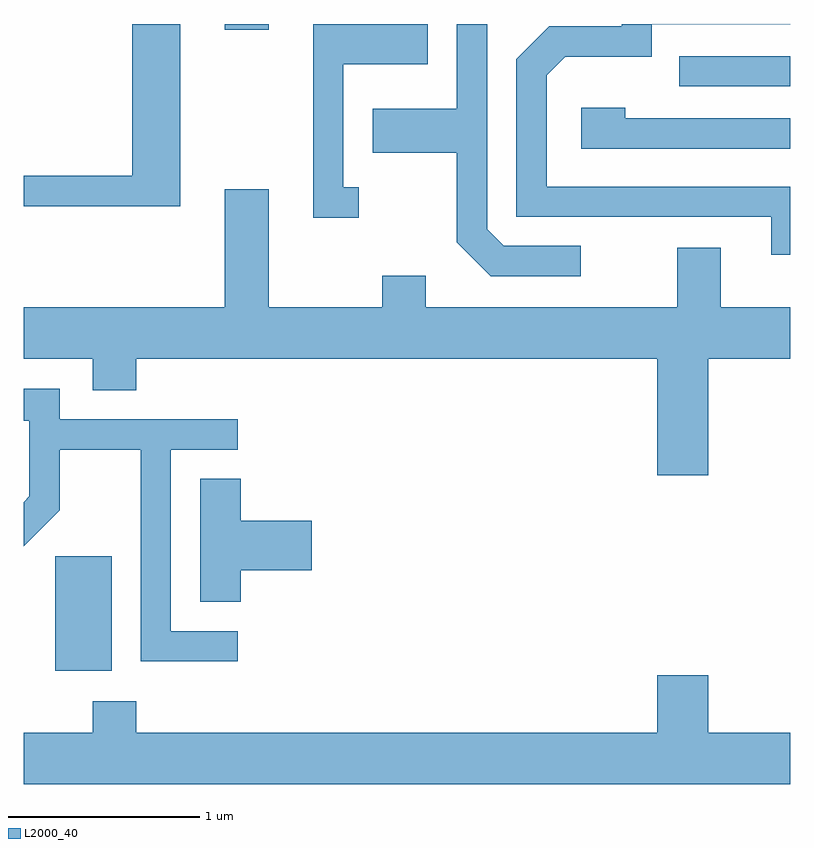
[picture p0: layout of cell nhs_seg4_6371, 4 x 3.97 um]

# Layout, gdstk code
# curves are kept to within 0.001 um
import gdstk
lib = gdstk.Library(unit=1e-6, precision=1e-09)
def R(c, l, rs):  # rectangles x0, y0, x1, y1
    for r in rs: c.add(gdstk.rectangle(r[:2], r[2:], *l))
def P(c, l, *ps):  # polygons
    for p in ps: c.add(gdstk.Polygon(p, *l))
L2000_40 = (2000, 40)

nhs_seg4_6371 = lib.new_cell('nhs_seg4_6371')
R(nhs_seg4_6371, L2000_40, [(371.776,1348.606,372.069,1349.204), (375.033,1351.656,375.611,1351.814), (372.661,1351.951,372.889,1351.982)])
P(nhs_seg4_6371, L2000_40, [(372.429,1351.982),(372.176,1351.982),(372.176,1351.189),(371.611,1351.189),(371.611,1351.031),(372.429,1351.031)],
  [(374.518,1350.824),(374.117,1350.824),(374.029,1350.912),(374.029,1351.982),(373.871,1351.982),(373.871,1351.539),(373.431,1351.539),(373.431,1351.311),(373.871,1351.311),(373.871,1350.844),(374.049,1350.666),(374.518,1350.666)],
  [(375.611,1351.134),(374.339,1351.134),(374.339,1351.714),(374.437,1351.811),(374.889,1351.811),(374.889,1351.981),(375.611,1351.982),(374.731,1351.982),(374.731,1351.969),(374.354,1351.969),(374.181,1351.797),(374.181,1350.976),(375.511,1350.976),(375.511,1350.778),(375.611,1350.778)],
  [(373.358,1351.129),(373.279,1351.129),(373.279,1351.771),(373.719,1351.771),(373.719,1351.982),(373.121,1351.982),(373.121,1350.971),(373.358,1350.971)],
  [(375.611,1351.489),(374.749,1351.489),(374.749,1351.544),(374.521,1351.544),(374.521,1351.331),(375.611,1351.331)],
  [(375.184,1350.236),(375.611,1350.236),(375.611,1350.504),(375.249,1350.504),(375.249,1350.814),(375.021,1350.814),(375.021,1350.504),(373.709,1350.504),(373.709,1350.669),(373.481,1350.669),(373.481,1350.504),(372.889,1350.504),(372.889,1351.119),(372.661,1351.119),(372.661,1350.504),(371.611,1350.504),(371.611,1350.236),(371.971,1350.236),(371.971,1350.071),(372.199,1350.071),(372.199,1350.236),(374.916,1350.236),(374.916,1349.626),(375.184,1349.626)],
  [(372.728,1348.814),(372.379,1348.814),(372.379,1349.761),(372.728,1349.761),(372.728,1349.919),(371.799,1349.919),(371.799,1350.079),(371.611,1350.079),(371.611,1349.911),(371.641,1349.911),(371.641,1349.517),(371.611,1349.487),(371.611,1349.256),(371.799,1349.444),(371.799,1349.761),(372.221,1349.761),(372.221,1348.656),(372.728,1348.656)],
  [(372.744,1349.131),(373.114,1349.131),(373.114,1349.389),(372.744,1349.389),(372.744,1349.609),(372.531,1349.609),(372.531,1348.966),(372.744,1348.966)],
  [(375.611,1348.284),(375.184,1348.284),(375.184,1348.584),(374.916,1348.584),(374.916,1348.284),(372.199,1348.284),(372.199,1348.449),(371.971,1348.449),(371.971,1348.284),(371.611,1348.284),(371.611,1348.016),(375.611,1348.016)])

lib.write_gds('nhs_seg4_6371.gds')
